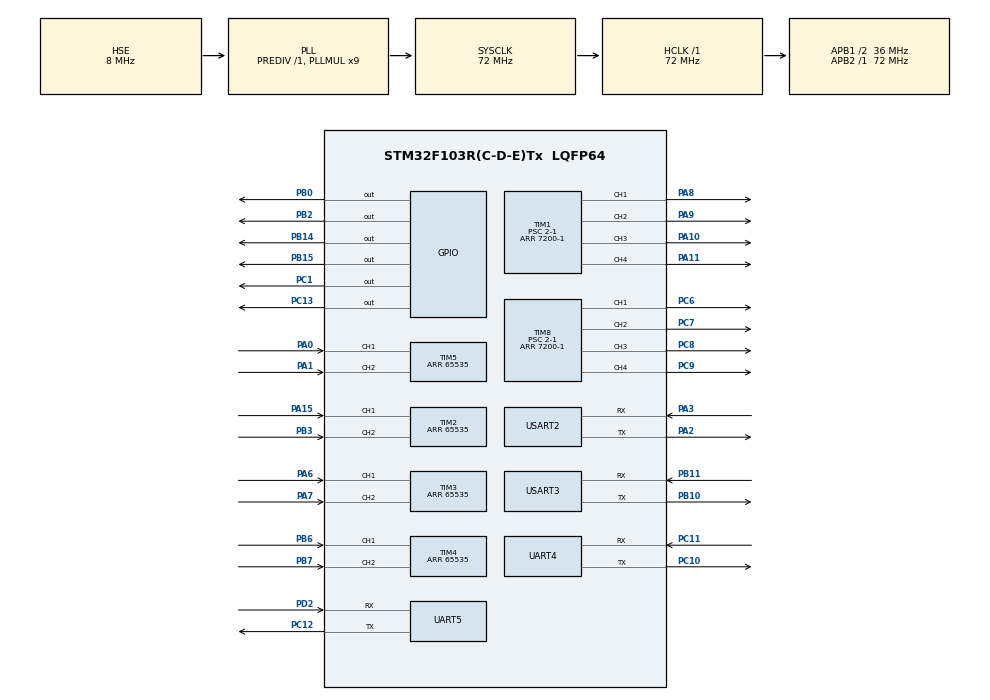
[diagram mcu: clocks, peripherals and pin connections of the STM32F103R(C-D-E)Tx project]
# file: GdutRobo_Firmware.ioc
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Dma.Request0=USART2_RX
Dma.Request1=USART2_TX
Dma.Request2=USART3_RX
Dma.USART2_RX.0.Direction=DMA_PERIPH_TO_MEMORY
Dma.USART2_RX.0.Instance=DMA1_Channel6
Dma.USART2_RX.0.MemDataAlignment=DMA_MDATAALIGN_BYTE
Dma.USART2_RX.0.MemInc=DMA_MINC_ENABLE
Dma.USART2_RX.0.Mode=DMA_NORMAL
Dma.USART2_RX.0.PeriphDataAlignment=DMA_PDATAALIGN_BYTE
Dma.USART2_RX.0.PeriphInc=DMA_PINC_DISABLE
Dma.USART2_RX.0.Priority=DMA_PRIORITY_MEDIUM
Dma.USART2_TX.1.Direction=DMA_MEMORY_TO_PERIPH
Dma.USART2_TX.1.Instance=DMA1_Channel7
Dma.USART2_TX.1.MemDataAlignment=DMA_MDATAALIGN_BYTE
Dma.USART2_TX.1.MemInc=DMA_MINC_ENABLE
Dma.USART2_TX.1.Mode=DMA_NORMAL
Dma.USART2_TX.1.PeriphDataAlignment=DMA_PDATAALIGN_BYTE
Dma.USART2_TX.1.PeriphInc=DMA_PINC_DISABLE
Dma.USART2_TX.1.Priority=DMA_PRIORITY_MEDIUM
Dma.USART3_RX.2.Direction=DMA_PERIPH_TO_MEMORY
Dma.USART3_RX.2.Instance=DMA1_Channel3
Dma.USART3_RX.2.MemDataAlignment=DMA_MDATAALIGN_BYTE
Dma.USART3_RX.2.MemInc=DMA_MINC_ENABLE
Dma.USART3_RX.2.Mode=DMA_NORMAL
Dma.USART3_RX.2.PeriphDataAlignment=DMA_PDATAALIGN_BYTE
Dma.USART3_RX.2.PeriphInc=DMA_PINC_DISABLE
Dma.USART3_RX.2.Priority=DMA_PRIORITY_MEDIUM
Mcu.Family=STM32F1
Mcu.Name=STM32F103R(C-D-E)Tx
Mcu.Package=LQFP64
NVIC.DMA1_Channel3_IRQn=true\:5\:0\:false\:false\:true\:true\:false
NVIC.DMA1_Channel6_IRQn=true\:5\:0\:false\:false\:true\:true\:false
NVIC.DMA1_Channel7_IRQn=true\:5\:0\:false\:false\:true\:true\:false
NVIC.PriorityGroup=NVIC_PRIORITYGROUP_4
NVIC.TIM6_IRQn=true\:0\:0\:false\:false\:true\:true\:true
NVIC.UART4_IRQn=true\:0\:0\:false\:false\:false\:true\:false
NVIC.USART2_IRQn=true\:0\:0\:false\:false\:false\:false\:false
NVIC.USART3_IRQn=true\:0\:0\:false\:false\:false\:false\:true
PA0-WKUP.GPIO_PuPd=GPIO_PULLUP
PA0-WKUP.Signal=S_TIM5_CH1
PA1.GPIO_PuPd=GPIO_PULLUP
PA1.Signal=S_TIM5_CH2
PA10.Signal=S_TIM1_CH3
PA11.Signal=S_TIM1_CH4
PA13.Mode=Serial_Wire
PA13.Signal=SYS_JTMS-SWDIO
PA14.Mode=Serial_Wire
PA14.Signal=SYS_JTCK-SWCLK
PA15.GPIO_PuPd=GPIO_PULLUP
PA15.Signal=S_TIM2_CH1_ETR
PA2.Mode=Asynchronous
PA2.Signal=USART2_TX
PA3.GPIO_PuPd=GPIO_PULLUP
PA3.Mode=Asynchronous
PA3.Signal=USART2_RX
PA6.GPIO_PuPd=GPIO_PULLUP
PA6.Signal=S_TIM3_CH1
PA7.GPIO_PuPd=GPIO_PULLUP
PA7.Signal=S_TIM3_CH2
PA8.Signal=S_TIM1_CH1
PA9.Signal=S_TIM1_CH2
PB0.GPIO_PuPd=GPIO_PULLUP
PB0.GPIO_Speed=GPIO_SPEED_FREQ_HIGH
PB0.PinState=GPIO_PIN_SET
PB0.Signal=GPIO_Output
PB10.Mode=Asynchronous
PB10.Signal=USART3_TX
PB11.GPIO_PuPd=GPIO_PULLUP
PB11.Mode=Asynchronous
PB11.Signal=USART3_RX
PB14.PinState=GPIO_PIN_SET
PB14.Signal=GPIO_Output
PB15.Signal=GPIO_Output
PB2.GPIO_Speed=GPIO_SPEED_FREQ_HIGH
PB2.Signal=GPIO_Output
PB3.GPIO_PuPd=GPIO_PULLUP
PB3.Signal=S_TIM2_CH2
PB6.GPIO_PuPd=GPIO_PULLUP
PB6.Signal=S_TIM4_CH1
PB7.GPIO_PuPd=GPIO_PULLUP
PB7.Signal=S_TIM4_CH2
PC1.Signal=GPIO_Output
PC10.Mode=Asynchronous
PC10.Signal=UART4_TX
PC11.GPIO_PuPd=GPIO_PULLUP
PC11.Mode=Asynchronous
PC11.Signal=UART4_RX
PC12.Mode=Asynchronous
PC12.Signal=UART5_TX
PC13-TAMPER-RTC.GPIO_Speed=GPIO_SPEED_FREQ_LOW
PC13-TAMPER-RTC.Signal=GPIO_Output
PC6.Signal=S_TIM8_CH1
PC7.Signal=S_TIM8_CH2
PC8.Signal=S_TIM8_CH3
PC9.Signal=S_TIM8_CH4
PD0-OSC_IN.Mode=HSE-External-Oscillator
PD0-OSC_IN.Signal=RCC_OSC_IN
PD1-OSC_OUT.Mode=HSE-External-Oscillator
PD1-OSC_OUT.Signal=RCC_OSC_OUT
PD2.GPIO_PuPd=GPIO_PULLUP
PD2.Mode=Asynchronous
PD2.Signal=UART5_RX
ProjectManager.HeapSize=0x200
ProjectManager.StackSize=0x400
ProjectManager.TargetToolchain=MDK-ARM V5
RCC.AHBFreq_Value=72000000
RCC.APB1CLKDivider=RCC_HCLK_DIV2
RCC.APB1Freq_Value=36000000
RCC.APB1TimFreq_Value=72000000
RCC.APB2Freq_Value=72000000
RCC.APB2TimFreq_Value=72000000
RCC.HCLKFreq_Value=72000000
RCC.PLLMUL=RCC_PLL_MUL9
RCC.PLLSourceVirtual=RCC_PLLSOURCE_HSE
RCC.SYSCLKFreq_VALUE=72000000
RCC.SYSCLKSource=RCC_SYSCLKSOURCE_PLLCLK
RCC.USBFreq_Value=72000000
SH.S_TIM1_CH1.0=TIM1_CH1,PWM Generation1 CH1
SH.S_TIM1_CH2.0=TIM1_CH2,PWM Generation2 CH2
SH.S_TIM1_CH3.0=TIM1_CH3,PWM Generation3 CH3
SH.S_TIM1_CH4.0=TIM1_CH4,PWM Generation4 CH4
SH.S_TIM2_CH1_ETR.0=TIM2_CH1,Encoder_Interface
SH.S_TIM2_CH2.0=TIM2_CH2,Encoder_Interface
SH.S_TIM3_CH1.0=TIM3_CH1,Encoder_Interface
SH.S_TIM3_CH2.0=TIM3_CH2,Encoder_Interface
SH.S_TIM4_CH1.0=TIM4_CH1,Encoder_Interface
SH.S_TIM4_CH2.0=TIM4_CH2,Encoder_Interface
SH.S_TIM5_CH1.0=TIM5_CH1,Encoder_Interface
SH.S_TIM5_CH2.0=TIM5_CH2,Encoder_Interface
SH.S_TIM8_CH1.0=TIM8_CH1,PWM Generation1 CH1
SH.S_TIM8_CH2.0=TIM8_CH2,PWM Generation2 CH2
SH.S_TIM8_CH3.0=TIM8_CH3,PWM Generation3 CH3
SH.S_TIM8_CH4.0=TIM8_CH4,PWM Generation4 CH4
TIM1.Channel-PWM\ Generation1\ CH1=TIM_CHANNEL_1
TIM1.Channel-PWM\ Generation2\ CH2=TIM_CHANNEL_2
TIM1.Channel-PWM\ Generation3\ CH3=TIM_CHANNEL_3
TIM1.Channel-PWM\ Generation4\ CH4=TIM_CHANNEL_4
TIM1.Period=7200-1
TIM1.Prescaler=2-1
TIM2.EncoderMode=TIM_ENCODERMODE_TI12
TIM2.IC1Filter=8
TIM2.IC2Filter=8
TIM2.Period=65535
TIM3.EncoderMode=TIM_ENCODERMODE_TI12
TIM3.IC1Filter=8
TIM3.IC2Filter=8
TIM3.Period=65535
TIM4.EncoderMode=TIM_ENCODERMODE_TI12
TIM4.IC1Filter=8
TIM4.IC2Filter=8
TIM4.Period=65535
TIM5.EncoderMode=TIM_ENCODERMODE_TI12
TIM5.IC1Filter=8
TIM5.IC2Filter=8
TIM5.Period=65535
TIM6.AutoReloadPreload=TIM_AUTORELOAD_PRELOAD_ENABLE
TIM6.Period=2000-1
TIM6.Prescaler=720-1
TIM8.Channel-PWM\ Generation1\ CH1=TIM_CHANNEL_1
TIM8.Channel-PWM\ Generation2\ CH2=TIM_CHANNEL_2
TIM8.Channel-PWM\ Generation3\ CH3=TIM_CHANNEL_3
TIM8.Channel-PWM\ Generation4\ CH4=TIM_CHANNEL_4
TIM8.Period=7200-1
TIM8.Prescaler=2-1
UART4.VirtualMode=Asynchronous
UART5.VirtualMode=Asynchronous
USART2.VirtualMode=VM_ASYNC
USART3.VirtualMode=VM_ASYNC
VP_TIM1_VS_ClockSourceINT.Mode=Internal
VP_TIM6_VS_ClockSourceINT.Mode=Enable_Timer
VP_TIM8_VS_ClockSourceINT.Mode=Internal
board=custom

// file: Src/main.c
/* USER CODE BEGIN Header */
/**
  ******************************************************************************
  * @file           : main.c
  * @brief          : Main program body
  ******************************************************************************
  * @attention
  *
  * <h2><center>&copy; Copyright (c) 2020 STMicroelectronics.
  * All rights reserved.</center></h2>
  *
  * This software component is licensed by ST under BSD 3-Clause license,
  * the "License"; You may not use this file except in compliance with the
  * License. You may obtain a copy of the License at:
  *                        opensource.org/licenses/BSD-3-Clause
  *
  ******************************************************************************
  */
/* USER CODE END Header */

#include "main.h"
#include "dma.h"
#include "tim.h"
#include "usart.h"
#include "gpio.h"

/* USER CODE BEGIN Includes */
#include "string.h"
#include "bsp_imu.h"
#include "bsp_buzzer.h"
#include "bsp_led.h"
#include "bsp_servo_iic.h"
#include "bsp_delay.h"
#include "bsp_motor.h"
#include "bsp_linefollower.h"
/* USER CODE END Includes */

void SystemClock_Config(void);

/* USER CODE BEGIN 0 */

//void DMA_Usart1_Read(uint8_t *Data,uint8_t len)//串口接收封装
//{
//	HAL_UART_Receive_DMA(&huart1,Data,len);//重新打开DMA接收
//}

/* USER CODE END 0 */

int main(void)
{

  /* MCU Configuration--------------------------------------------------------*/

  /* Reset of all peripherals, Initializes the Flash interface and the Systick. */
  HAL_Init();

  /* Configure the system clock */
  SystemClock_Config();

  /* Initialize all configured peripherals */
  MX_GPIO_Init();
  MX_DMA_Init();
  MX_USART2_UART_Init();
  MX_USART3_UART_Init();
  MX_UART4_Init();
  MX_UART5_Init();
  MX_TIM1_Init();
  MX_TIM8_Init();
  MX_TIM2_Init();
  MX_TIM3_Init();
  MX_TIM4_Init();
  MX_TIM5_Init();
  MX_TIM6_Init();
  /* USER CODE BEGIN 2 */
	delay_init();
	pca_init(50,90);
	motor_pwm_enable();
	imu_receive_init();
	LFB_receive_init();
	HAL_TIM_Base_Start_IT(&htim6);  //使能定时器6中断

	motor_set_pwm(4, 6000);
	delay_ms(50);
	motor_set_pwm(4, 3000);
	motor_set_pwm(3, 2000);
	motor_set_pwm(2, 2000);
	motor_set_pwm(1, 2000);

  /* USER CODE END 2 */

  /* Infinite loop */
  while (1)
  {

    /* USER CODE BEGIN 3 */
//	  buzzer_on();
//	  for(int num = 0; num <= 15; num++)
//	  {
//		angle_write(num,90);
//	  }
//	  delay_ms(1000);
//	  for(int num = 0; num <= 15; num++)
//	  {
//		angle_write(num,0);
//	  }
//	  buzzer_off();
//	  delay_ms(1000);
	  for(int i = 0;i<=11;i++)
	  {
		angle_write(i,90);
	  }
	  delay_ms(1000);
	  for(int i = 0;i<=11;i++)
	  {
		angle_write(i,0);
	  }
	  delay_ms(1000);

  }
  /* USER CODE END 3 */
}

void SystemClock_Config(void)
{
  RCC_OscInitTypeDef RCC_OscInitStruct = {0};
  RCC_ClkInitTypeDef RCC_ClkInitStruct = {0};

  /** Initializes the CPU, AHB and APB busses clocks
  */
  RCC_OscInitStruct.OscillatorType = RCC_OSCILLATORTYPE_HSE;
  RCC_OscInitStruct.HSEState = RCC_HSE_ON;
  RCC_OscInitStruct.HSEPredivValue = RCC_HSE_PREDIV_DIV1;
  RCC_OscInitStruct.HSIState = RCC_HSI_ON;
  RCC_OscInitStruct.PLL.PLLState = RCC_PLL_ON;
  RCC_OscInitStruct.PLL.PLLSource = RCC_PLLSOURCE_HSE;
  RCC_OscInitStruct.PLL.PLLMUL = RCC_PLL_MUL9;
  if (HAL_RCC_OscConfig(&RCC_OscInitStruct) != HAL_OK)
  {
    Error_Handler();
  }
  /** Initializes the CPU, AHB and APB busses clocks
  */
  RCC_ClkInitStruct.ClockType = RCC_CLOCKTYPE_HCLK|RCC_CLOCKTYPE_SYSCLK
                              |RCC_CLOCKTYPE_PCLK1|RCC_CLOCKTYPE_PCLK2;
  RCC_ClkInitStruct.SYSCLKSource = RCC_SYSCLKSOURCE_PLLCLK;
  RCC_ClkInitStruct.AHBCLKDivider = RCC_SYSCLK_DIV1;
  RCC_ClkInitStruct.APB1CLKDivider = RCC_HCLK_DIV2;
  RCC_ClkInitStruct.APB2CLKDivider = RCC_HCLK_DIV1;

  if (HAL_RCC_ClockConfig(&RCC_ClkInitStruct, FLASH_LATENCY_2) != HAL_OK)
  {
    Error_Handler();
  }
}

void Error_Handler(void)
{
}

/************************ (C) COPYRIGHT STMicroelectronics *****END OF FILE****/
